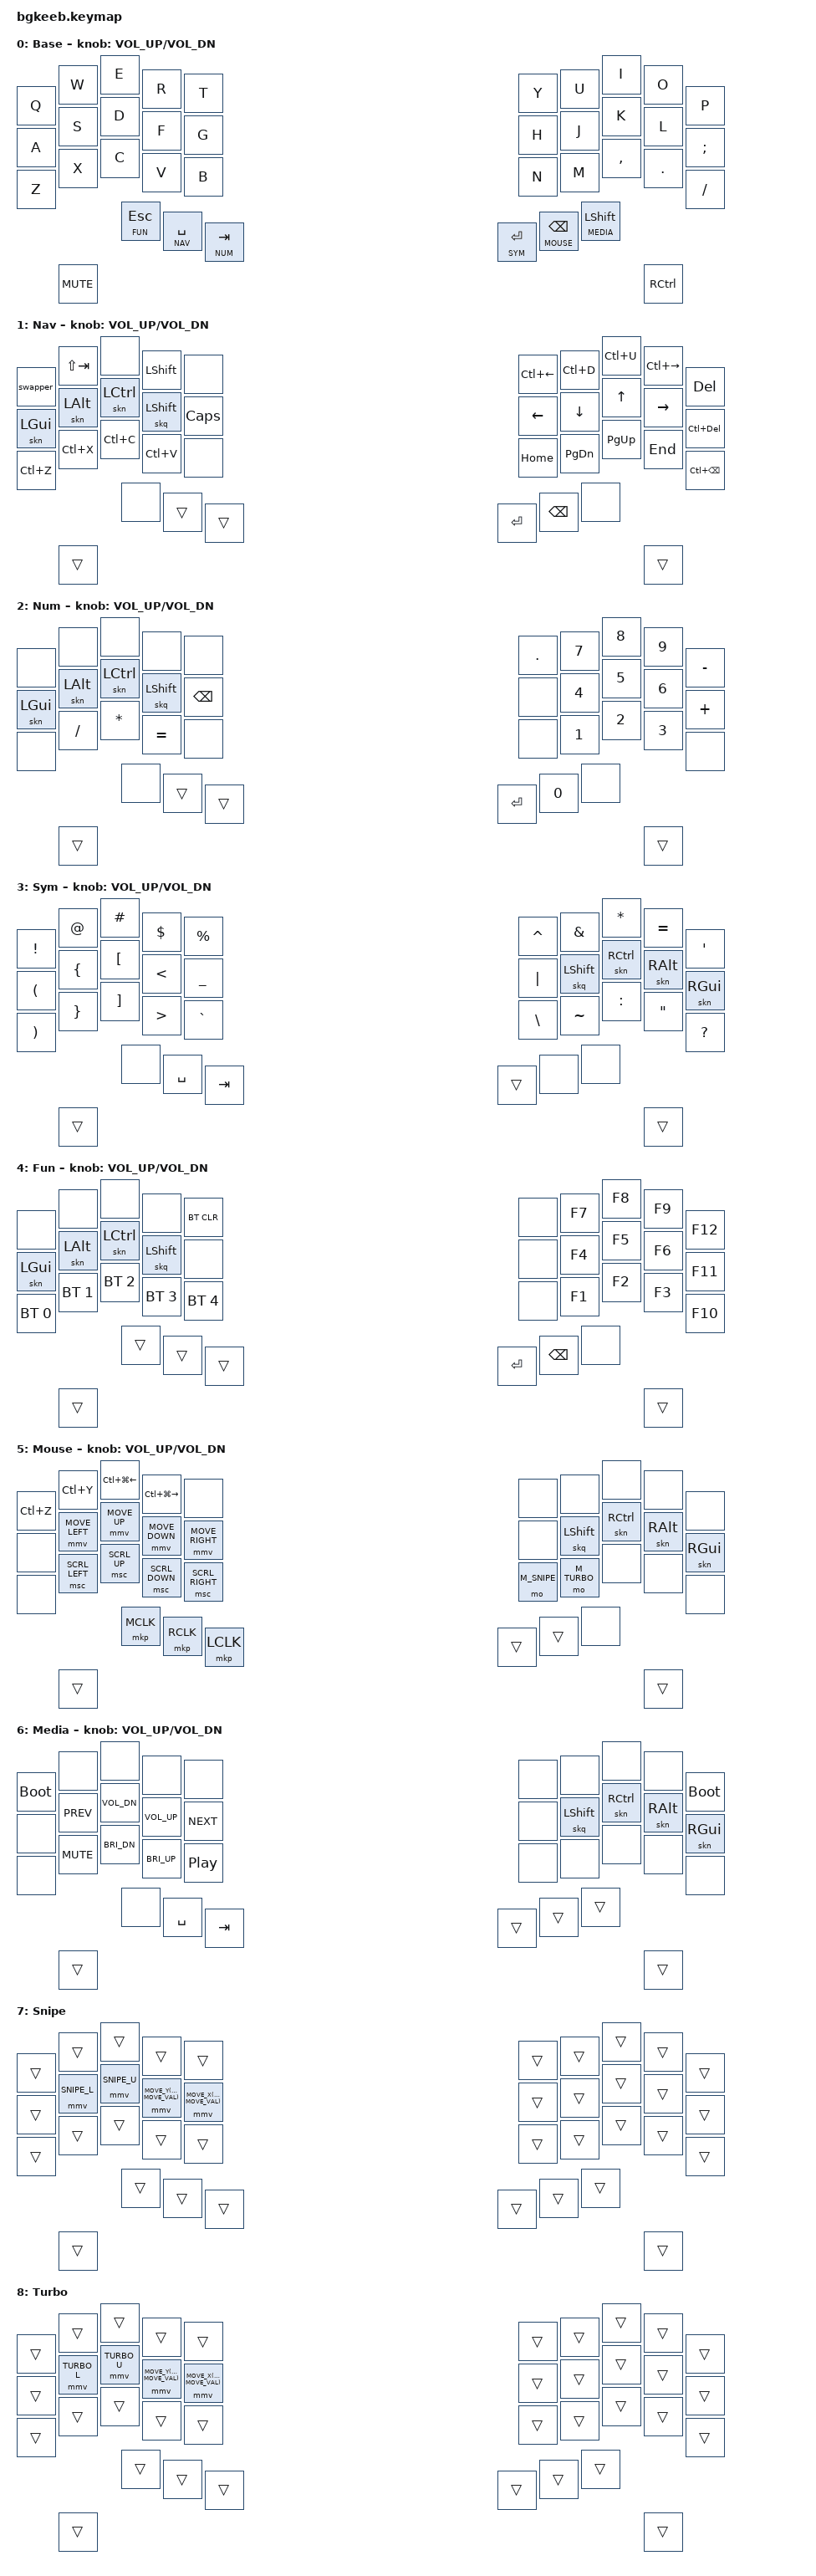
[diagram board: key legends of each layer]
/*
 * BGKeeB 键位配置 (移植自 Lily58 "双核驱动" Callum OSM 方案)
 *
 * 38 键 (3x5+4 拇指) + 旋钮，无外围冗余行/列
 * 核心 3x5 区域与 Lily58 完全一致，拇指区 4 键对齐
 *
 * Layer 0: Base     - QWERTY
 * Layer 1: Nav      - 左手 OSM 修饰键 + 右手 Vim HJKL + 跳跃 + 翻页
 * Layer 2: Numpad   - 左手算术运算 + 右手纯数字九宫格
 * Layer 3: Symbols  - 左手符号区 + 右手 OSM 修饰键
 * Layer 4: Function - 左手 OSM/BT + 右手 F 键九宫格
 * Layer 5: Mouse    - 左手鼠标移动/滚轮/点击 + 右手 OSM
 * Layer 6: Media    - 左手媒体/音量/亮度 + 右手 OSM
 *
 * SPDX-License-Identifier: MIT
 */

#include <behaviors.dtsi>
#include <dt-bindings/zmk/keys.h>
#include <dt-bindings/zmk/bt.h>
#include <dt-bindings/zmk/outputs.h>

// 必须在引入 pointing.h 之前定义
#define ZMK_POINTING_DEFAULT_MOVE_VAL 1500
#define ZMK_POINTING_DEFAULT_SCRL_VAL 20
#include <dt-bindings/zmk/pointing.h>

// Snipe 模式：1/4 速度
#define SNIPE_MOVE_VAL (ZMK_POINTING_DEFAULT_MOVE_VAL / 4)
#define SNIPE_U MOVE_Y(-SNIPE_MOVE_VAL)
#define SNIPE_D MOVE_Y(SNIPE_MOVE_VAL)
#define SNIPE_L MOVE_X(-SNIPE_MOVE_VAL)
#define SNIPE_R MOVE_X(SNIPE_MOVE_VAL)

// Turbo 模式：2x 速度
#define TURBO_MOVE_VAL (ZMK_POINTING_DEFAULT_MOVE_VAL * 2)
#define TURBO_U MOVE_Y(-TURBO_MOVE_VAL)
#define TURBO_D MOVE_Y(TURBO_MOVE_VAL)
#define TURBO_L MOVE_X(-TURBO_MOVE_VAL)
#define TURBO_R MOVE_X(TURBO_MOVE_VAL)

#define BASE    0
#define NAV     1
#define NUM     2
#define SYM     3
#define FUN     4
#define MOUSE   5
#define MEDIA   6
#define M_SNIPE 7
#define M_TURBO 8

&mmv {
    acceleration-exponent = <1>;
    time-to-max-speed-ms = <500>;
    delay-ms = <0>;
};

&msc {
    acceleration-exponent = <1>;
    time-to-max-speed-ms = <500>;
    delay-ms = <0>;
};

&caps_word {
    continue-list = <UNDERSCORE MINUS BSPC DEL>;
};

/ {
    behaviors {
        // Callum-style 快速释放 OSM（仅用于 Shift）
        skq: sticky_key_quick_release {
            compatible = "zmk,behavior-sticky-key";
            #binding-cells = <1>;
            bindings = <&kp>;
            release-after-ms = <1000>;
            quick-release;
            ignore-modifiers;
        };

        // 普通 OSM（用于 Ctrl/Alt/GUI，支持链式组合）
        skn: sticky_key_normal {
            compatible = "zmk,behavior-sticky-key";
            #binding-cells = <1>;
            bindings = <&kp>;
            release-after-ms = <1000>;
            ignore-modifiers;
        };

        // 拇指专用 Layer-Tap
        tlt: thumb_layer_tap {
            compatible = "zmk,behavior-hold-tap";
            #binding-cells = <2>;
            flavor = "balanced";
            tapping-term-ms = <200>;
            quick-tap-ms = <150>;
            bindings = <&mo>, <&kp>;
        };
    };

    macros {
        swapper: swapper {
            compatible = "zmk,behavior-macro";
            #binding-cells = <0>;
            wait-ms = <30>;
            tap-ms = <30>;
            bindings
                = <&macro_press &kp LALT>
                , <&macro_tap &kp TAB>
                , <&macro_pause_for_release>
                , <&macro_release &kp LALT>
                ;
        };
    };

    combos {
        compatible = "zmk,combos";

        // S + D = Escape
        combo_esc {
            timeout-ms = <50>;
            key-positions = <11 12>;
            bindings = <&kp ESC>;
            layers = <BASE>;
            require-prior-idle-ms = <200>;
        };


        // J + K = LSHFT (中英切换 / 长按 Shift)
        combo_lshft {
            timeout-ms = <50>;
            key-positions = <16 17>;
            bindings = <&kp LSHFT>;
            layers = <BASE>;
            require-prior-idle-ms = <150>;
        };

        // 左双拇指 (SPACE+TAB) = FUN 层
        combo_fun_layer {
            timeout-ms = <50>;
            key-positions = <32 33>;
            bindings = <&mo FUN>;
            layers = <BASE>;
        };

        // 右双拇指 (ENTER+BSPC) = MEDIA 层
        combo_media_layer {
            timeout-ms = <50>;
            key-positions = <34 35>;
            bindings = <&mo MEDIA>;
            layers = <BASE>;
        };
    };

    keymap {
        compatible = "zmk,keymap";

        default_layer {
            display-name = "Base";
// ┌─────┬─────┬─────┬─────┬─────┐               ┌─────┬─────┬─────┬─────┬─────┐
// │  Q  │  W  │  E  │  R  │  T  │               │  Y  │  U  │  I  │  O  │  P  │
// ├─────┼─────┼─────┼─────┼─────┤               ├─────┼─────┼─────┼─────┼─────┤
// │  A  │  S  │  D  │  F  │  G  │               │  H  │  J  │  K  │  L  │  ;  │
// ├─────┼─────┼─────┼─────┼─────┤               ├─────┼─────┼─────┼─────┼─────┤
// │  Z  │  X  │  C  │  V  │  B  │               │  N  │  M  │  ,  │  .  │  /  │
// └─────┴─────┼─────┼─────┼─────┼─────┐   ┌─────┼─────┼─────┼─────┴─────┴─────┘
//             │MUTE │ ESC │SPACE│ TAB │   │ENTER│BSPC │LSHFT│CTRL │
//             │     │(FUN)│(NAV)│(NUM)│   │(SYM)│(MOU)│(MED)│     │
//             └─────┴─────┴─────┴─────┘   └─────┴─────┴─────┴─────┘
            bindings = <
&kp Q       &kp W  &kp E  &kp R           &kp T                              &kp Y         &kp U             &kp I             &kp O   &kp P
&kp A       &kp S  &kp D  &kp F           &kp G                              &kp H         &kp J             &kp K             &kp L   &kp SEMI
&kp Z       &kp X  &kp C  &kp V           &kp B                              &kp N         &kp M             &kp COMMA         &kp DOT &kp FSLH
            &kp K_MUTE    &tlt FUN ESC    &tlt NAV SPACE  &tlt NUM TAB       &tlt SYM RET  &tlt MOUSE BSPC   &tlt MEDIA LSHFT  &kp RCTRL
            >;

            sensor-bindings = <&inc_dec_kp C_VOL_UP C_VOL_DN>;
        };

        nav_layer {
            display-name = "Nav";
// ┌─────┬─────┬─────┬─────┬─────┐               ┌─────┬─────┬─────┬─────┬─────┐
// │ SWP │S-TAB│none │LSHFT│none │               │C(←) │ C-D │ C-U │C(→) │ DEL │
// ├─────┼─────┼─────┼─────┼─────┤               ├─────┼─────┼─────┼─────┼─────┤
// │ GUI │ ALT │CTRL │LSHFT│CAPW │               │  ←  │  ↓  │  ↑  │  →  │C(DEL)│
// ├─────┼─────┼─────┼─────┼─────┤               ├─────┼─────┼─────┼─────┼─────┤
// │C(Z) │C(X) │C(C) │C(V) │     │               │HOME │PgDn │PgUp │ END │C(BS)│
// └─────┴─────┼─────┼─────┼─────┼─────┐   ┌─────┼─────┼─────┼─────┴─────┴─────┘
//             │     │     │▓▓▓▓▓│     │   │     │     │     │     │
//             └─────┴─────┴─────┴─────┘   └─────┴─────┴─────┴─────┘
            bindings = <
&swapper   &kp LS(TAB) &none    &kp LSHFT  &none                  &kp LC(LEFT) &kp LC(D)  &kp LC(U)  &kp LC(RIGHT) &kp DEL
&skn LGUI  &skn LALT   &skn LCTRL &skq LSHFT &kp CAPS                &kp LEFT     &kp DOWN   &kp UP     &kp RIGHT     &kp LC(DEL)
&kp LC(Z)  &kp LC(X)   &kp LC(C)  &kp LC(V)  &none                     &kp HOME     &kp PG_DN  &kp PG_UP  &kp END       &kp LC(BSPC)
            &trans      &none      &trans     &trans                    &kp RET      &kp BSPC   &none      &trans
            >;

            sensor-bindings = <&inc_dec_kp C_VOL_UP C_VOL_DN>;
        };

        num_layer {
            display-name = "Num";
// ┌─────┬─────┬─────┬─────┬─────┐               ┌─────┬─────┬─────┬─────┬─────┐
// │     │     │     │     │     │               │  .  │  7  │  8  │  9  │  -  │
// ├─────┼─────┼─────┼─────┼─────┤               ├─────┼─────┼─────┼─────┼─────┤
// │ GUI │ ALT │CTRL │LSHFT│BSPC │               │     │  4  │  5  │  6  │  +  │
// ├─────┼─────┼─────┼─────┼─────┤               ├─────┼─────┼─────┼─────┼─────┤
// │     │  /  │  *  │  =  │     │               │     │  1  │  2  │  3  │     │
// └─────┴─────┼─────┼─────┼─────┼─────┐   ┌─────┼─────┼─────┼─────┴─────┴─────┘
//             │     │     │     │▓▓▓▓▓│   │     │  0  │     │     │
//             └─────┴─────┴─────┴─────┘   └─────┴─────┴─────┴─────┘
            bindings = <
&none      &none     &none      &none      &none                      &kp DOT &kp N7 &kp N8 &kp N9 &kp MINUS
&skn LGUI  &skn LALT &skn LCTRL &skq LSHFT &kp BSPC                  &none  &kp N4 &kp N5 &kp N6 &kp PLUS
&none      &kp FSLH  &kp ASTRK  &kp EQUAL  &none                     &none  &kp N1 &kp N2 &kp N3 &none
            &trans    &none      &trans     &trans                    &kp RET &kp N0 &none  &trans
            >;

            sensor-bindings = <&inc_dec_kp C_VOL_UP C_VOL_DN>;
        };

        sym_layer {
            display-name = "Sym";
// ┌─────┬─────┬─────┬─────┬─────┐               ┌─────┬─────┬─────┬─────┬─────┐
// │  !  │  @  │  #  │  $  │  %  │               │  ^  │  &  │  *  │  =  │  '  │
// ├─────┼─────┼─────┼─────┼─────┤               ├─────┼─────┼─────┼─────┼─────┤
// │  (  │  {  │  [  │  <  │  _  │               │  |  │LSHFT│CTRL │ ALT │ GUI │
// ├─────┼─────┼─────┼─────┼─────┤               ├─────┼─────┼─────┼─────┼─────┤
// │  )  │  }  │  ]  │  >  │  `  │               │  \  │  ~  │  :  │  "  │  ?  │
// └─────┴─────┼─────┼─────┼─────┼─────┐   ┌─────┼─────┼─────┼─────┴─────┴─────┘
//             │     │     │     │     │   │▓▓▓▓▓│     │     │     │
//             └─────┴─────┴─────┴─────┘   └─────┴─────┴─────┴─────┘
            bindings = <
&kp EXCL  &kp AT   &kp HASH &kp DLLR &kp PRCNT                   &kp CARET &kp AMPS   &kp ASTRK  &kp EQUAL  &kp SQT
&kp LPAR  &kp LBRC &kp LBKT &kp LT   &kp UNDER                  &kp PIPE  &skq LSHFT &skn RCTRL &skn RALT  &skn RGUI
&kp RPAR  &kp RBRC &kp RBKT &kp GT   &kp GRAVE                  &kp BSLH  &kp TILDE  &kp COLON  &kp DQT    &kp QMARK
           &trans   &none    &kp SPACE &kp TAB                    &trans    &none      &none      &trans
            >;

            sensor-bindings = <&inc_dec_kp C_VOL_UP C_VOL_DN>;
        };

        fun_layer {
            display-name = "Fun";
// ┌─────┬─────┬─────┬─────┬─────┐               ┌─────┬─────┬─────┬─────┬─────┐
// │CANCL│ BLE │ USB │     │BTCLR│               │     │ F7  │ F8  │ F9  │ F12 │
// ├─────┼─────┼─────┼─────┼─────┤               ├─────┼─────┼─────┼─────┼─────┤
// │ GUI │ ALT │CTRL │LSHFT│     │               │     │ F4  │ F5  │ F6  │ F11 │
// ├─────┼─────┼─────┼─────┼─────┤               ├─────┼─────┼─────┼─────┼─────┤
// │ BT0 │ BT1 │ BT2 │ BT3 │ BT4 │               │     │ F1  │ F2  │ F3  │ F10 │
// └─────┴─────┼─────┼─────┼─────┼─────┐   ┌─────┼─────┼─────┼─────┴─────┴─────┘
//             │     │▓▓▓▓▓│     │     │   │     │     │     │     │
//             └─────┴─────┴─────┴─────┘   └─────┴─────┴─────┴─────┘
            bindings = <
&none &none  &none  &none        &bt BT_CLR                &none  &kp F7 &kp F8 &kp F9 &kp F12
&skn LGUI    &skn LALT     &skn LCTRL    &skq LSHFT   &none                     &none  &kp F4 &kp F5 &kp F6 &kp F11
&bt BT_SEL 0 &bt BT_SEL 1  &bt BT_SEL 2  &bt BT_SEL 3 &bt BT_SEL 4                     &none  &kp F1 &kp F2 &kp F3 &kp F10
              &trans        &trans        &trans       &trans                    &kp RET &kp BSPC &none  &trans
            >;

            sensor-bindings = <&inc_dec_kp C_VOL_UP C_VOL_DN>;
        };

        mouse_layer {
            display-name = "Mouse";
// ┌─────┬─────┬─────┬─────┬─────┐               ┌─────┬─────┬─────┬─────┬─────┐
// │UNDO │REDO │VD_L │VD_R │     │               │     │     │     │     │     │
// ├─────┼─────┼─────┼─────┼─────┤               ├─────┼─────┼─────┼─────┼─────┤
// │     │ ML  │ MU  │ MD  │ MR  │               │     │LSHFT│CTRL │ ALT │ GUI │
// ├─────┼─────┼─────┼─────┼─────┤               ├─────┼─────┼─────┼─────┼─────┤
// │     │WH_L │WH_U │WH_D │WH_R │               │SNIPE│TURBO│     │     │     │
// └─────┴─────┼─────┼─────┼─────┼─────┐   ┌─────┼─────┼─────┼─────┴─────┴─────┘
//             │     │MCLK │RCLK │LCLK │   │     │▓▓▓▓▓│     │     │
//             └─────┴─────┴─────┴─────┘   └─────┴─────┴─────┴─────┘
            bindings = <
&kp LC(Z) &kp LC(Y)      &kp LC(LG(LEFT)) &kp LC(LG(RIGHT)) &none                           &none       &none      &none      &none     &none
&none     &mmv MOVE_LEFT &mmv MOVE_UP     &mmv MOVE_DOWN     &mmv MOVE_RIGHT                 &none       &skq LSHFT &skn RCTRL &skn RALT &skn RGUI
&none     &msc SCRL_LEFT &msc SCRL_UP     &msc SCRL_DOWN     &msc SCRL_RIGHT                 &mo M_SNIPE &mo M_TURBO &none     &none     &none
           &trans         &mkp MCLK        &mkp RCLK          &mkp LCLK                      &trans      &trans     &none      &trans
            >;

            sensor-bindings = <&inc_dec_kp C_VOL_UP C_VOL_DN>;
        };

        media_layer {
            display-name = "Media";
// ┌─────┬─────┬─────┬─────┬─────┐               ┌─────┬─────┬─────┬─────┬─────┐
// │BOOT │     │     │     │     │               │     │     │     │     │BOOT │
// ├─────┼─────┼─────┼─────┼─────┤               ├─────┼─────┼─────┼─────┼─────┤
// │     │PREV │VOL_D│VOL_U│NEXT │               │     │LSHFT│CTRL │ ALT │ GUI │
// ├─────┼─────┼─────┼─────┼─────┤               ├─────┼─────┼─────┼─────┼─────┤
// │     │MUTE │BRI_D│BRI_U│PLAY │               │     │     │     │     │     │
// └─────┴─────┼─────┼─────┼─────┼─────┐   ┌─────┼─────┼─────┼─────┴─────┴─────┘
//             │     │     │     │     │   │     │     │▓▓▓▓▓│     │
//             └─────┴─────┴─────┴─────┘   └─────┴─────┴─────┴─────┘
            bindings = <
&bootloader &none      &none        &none        &none                        &none  &none      &none      &none     &bootloader
&none  &kp C_PREV &kp C_VOL_DN &kp C_VOL_UP &kp C_NEXT                  &none  &skq LSHFT &skn RCTRL &skn RALT &skn RGUI
&none  &kp C_MUTE &kp C_BRI_DN &kp C_BRI_UP &kp C_PP                    &none  &none      &none      &none     &none
        &trans    &none        &kp SPACE    &kp TAB                      &trans &trans     &trans     &trans
            >;

            sensor-bindings = <&inc_dec_kp C_VOL_UP C_VOL_DN>;
        };

        m_snipe_layer {
            display-name = "Snipe";
// 影子层：覆写 Mouse 层的移动键为 1/4 速度
            bindings = <
&trans &trans         &trans       &trans       &trans                       &trans &trans &trans &trans &trans
&trans &mmv SNIPE_L   &mmv SNIPE_U &mmv SNIPE_D &mmv SNIPE_R                &trans &trans &trans &trans &trans
&trans &trans         &trans       &trans       &trans                       &trans &trans &trans &trans &trans
        &trans        &trans       &trans       &trans                       &trans &trans &trans &trans
            >;
        };

        m_turbo_layer {
            display-name = "Turbo";
// 影子层：覆写 Mouse 层的移动键为 2x 速度
            bindings = <
&trans &trans         &trans       &trans       &trans                       &trans &trans &trans &trans &trans
&trans &mmv TURBO_L   &mmv TURBO_U &mmv TURBO_D &mmv TURBO_R                &trans &trans &trans &trans &trans
&trans &trans         &trans       &trans       &trans                       &trans &trans &trans &trans &trans
        &trans        &trans       &trans       &trans                       &trans &trans &trans &trans
            >;
        };
    };
};
